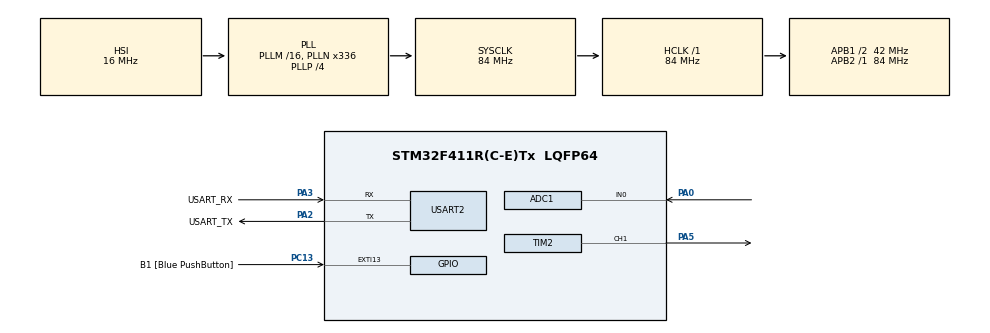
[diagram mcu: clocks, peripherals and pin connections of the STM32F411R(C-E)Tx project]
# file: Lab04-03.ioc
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ADC1.Channel-1\#ChannelRegularConversion=ADC_CHANNEL_0
ADC1.NbrOfConversionFlag=1
ADC1.Rank-1\#ChannelRegularConversion=1
ADC1.SamplingTime-1\#ChannelRegularConversion=ADC_SAMPLETIME_3CYCLES
ADC1.master=1
Mcu.Family=STM32F4
Mcu.Name=STM32F411R(C-E)Tx
Mcu.Package=LQFP64
NVIC.PriorityGroup=NVIC_PRIORITYGROUP_0
PA0-WKUP.Signal=ADCx_IN0
PA13.GPIO_Label=TMS
PA13.Mode=Serial_Wire
PA13.Signal=SYS_JTMS-SWDIO
PA14.GPIO_Label=TCK
PA14.Mode=Serial_Wire
PA14.Signal=SYS_JTCK-SWCLK
PA2.GPIO_Label=USART_TX
PA2.Mode=Asynchronous
PA2.Signal=USART2_TX
PA3.GPIO_Label=USART_RX
PA3.Mode=Asynchronous
PA3.Signal=USART2_RX
PA5.Signal=S_TIM2_CH1_ETR
PB3.GPIO_Label=SWO
PB3.Signal=SYS_JTDO-SWO
PC13-ANTI_TAMP.GPIO_Label=B1 [Blue PushButton]
PC13-ANTI_TAMP.GPIO_ModeDefaultEXTI=GPIO_MODE_IT_FALLING
PC13-ANTI_TAMP.Signal=GPXTI13
PC14-OSC32_IN.Mode=LSE-External-Oscillator
PC14-OSC32_IN.Signal=RCC_OSC32_IN
PC15-OSC32_OUT.Mode=LSE-External-Oscillator
PC15-OSC32_OUT.Signal=RCC_OSC32_OUT
PH0\ -\ OSC_IN.Mode=HSE-External-Clock-Source
PH0\ -\ OSC_IN.Signal=RCC_OSC_IN
PH1\ -\ OSC_OUT.Mode=HSE-External-Clock-Source
PH1\ -\ OSC_OUT.Signal=RCC_OSC_OUT
ProjectManager.HeapSize=0x200
ProjectManager.StackSize=0x400
ProjectManager.TargetToolchain=STM32CubeIDE
RCC.48MHZClocksFreq_Value=84000000
RCC.AHBFreq_Value=84000000
RCC.APB1CLKDivider=RCC_HCLK_DIV2
RCC.APB1Freq_Value=42000000
RCC.APB1TimFreq_Value=84000000
RCC.APB2Freq_Value=84000000
RCC.APB2TimFreq_Value=84000000
RCC.CortexFreq_Value=84000000
RCC.FLatency-AdvancedSettings=FLASH_LATENCY_2
RCC.HCLKFreq_Value=84000000
RCC.HSE_VALUE=8000000
RCC.HSI_VALUE=16000000
RCC.PLLN=336
RCC.PLLP=RCC_PLLP_DIV4
RCC.SYSCLKFreq_VALUE=84000000
RCC.SYSCLKSource=RCC_SYSCLKSOURCE_PLLCLK
RCC.VCOOutputFreq_Value=336000000
SH.ADCx_IN0.0=ADC1_IN0,IN0
SH.S_TIM2_CH1_ETR.0=TIM2_CH1,PWM Generation1 CH1
TIM2.Channel-PWM\ Generation1\ CH1=TIM_CHANNEL_1
TIM2.Period=99
TIM2.Prescaler=84
TIM2.Pulse-PWM\ Generation1\ CH1=0
USART2.VirtualMode=VM_ASYNC
VP_TIM2_VS_ClockSourceINT.Mode=Internal
board=NUCLEO-F411RE

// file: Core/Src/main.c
/* USER CODE BEGIN Header */
/**
  ******************************************************************************
  * @file           : main.c
  * @brief          : Main program body
  ******************************************************************************
  * @attention
  *
  * Copyright (c) 2024 STMicroelectronics.
  * All rights reserved.
  *
  * This software is licensed under terms that can be found in the LICENSE file
  * in the root directory of this software component.
  * If no LICENSE file comes with this software, it is provided AS-IS.
  *
  ******************************************************************************
  */
/* USER CODE END Header */
#include "main.h"

ADC_HandleTypeDef hadc1;

TIM_HandleTypeDef htim2;

UART_HandleTypeDef huart2;

/* USER CODE BEGIN PV */
uint32_t MIN_LDR = 50;
uint32_t MAX_LDR = 3600;

uint32_t normalize_ldr(uint32_t n) {
	return (uint32_t) (n - MIN_LDR) * 100 / (MAX_LDR - MIN_LDR);
}

/* USER CODE END PV */

void SystemClock_Config(void);
static void MX_GPIO_Init(void);
static void MX_USART2_UART_Init(void);
static void MX_ADC1_Init(void);
static void MX_TIM2_Init(void);

int main(void)
{

  /* MCU Configuration--------------------------------------------------------*/

  /* Reset of all peripherals, Initializes the Flash interface and the Systick. */
  HAL_Init();

  /* Configure the system clock */
  SystemClock_Config();

  /* Initialize all configured peripherals */
  MX_GPIO_Init();
  MX_USART2_UART_Init();
  MX_ADC1_Init();
  MX_TIM2_Init();
  /* USER CODE BEGIN 2 */
  HAL_TIM_Base_Start(&htim2);
  HAL_TIM_PWM_Start(&htim2, TIM_CHANNEL_1);
   int adcval = 0;
   char buf[256];
  /* USER CODE END 2 */

  /* Infinite loop */
  /* USER CODE BEGIN WHILE */
   while (1)
   {
   // Start ADC conversion
	   HAL_ADC_Start(&hadc1);
	   // Wait for 1000ms or when the conversion is finished.
	   if (HAL_ADC_PollForConversion(&hadc1, 1000) == HAL_OK) {
		   // Read the ADC value
		   adcval = HAL_ADC_GetValue(&hadc1);
		   uint32_t intensity = normalize_ldr(adcval);
		   TIM2->CCR1 = intensity;
		   // Write integer to buffer
		   sprintf (buf, "LDR: %d, LED: %d\r\n" , adcval, intensity);
		   // Transmitted with UART
		   HAL_UART_Transmit(&huart2, buf, strlen(buf), 1000);
		   HAL_Delay(200);
	   }
    /* USER CODE END WHILE */

  }
}

void SystemClock_Config(void)
{
  RCC_OscInitTypeDef RCC_OscInitStruct = {0};
  RCC_ClkInitTypeDef RCC_ClkInitStruct = {0};

  /** Configure the main internal regulator output voltage
  */
  __HAL_RCC_PWR_CLK_ENABLE();
  __HAL_PWR_VOLTAGESCALING_CONFIG(PWR_REGULATOR_VOLTAGE_SCALE1);

  /** Initializes the RCC Oscillators according to the specified parameters
  * in the RCC_OscInitTypeDef structure.
  */
  RCC_OscInitStruct.OscillatorType = RCC_OSCILLATORTYPE_HSI;
  RCC_OscInitStruct.HSIState = RCC_HSI_ON;
  RCC_OscInitStruct.HSICalibrationValue = RCC_HSICALIBRATION_DEFAULT;
  RCC_OscInitStruct.PLL.PLLState = RCC_PLL_ON;
  RCC_OscInitStruct.PLL.PLLSource = RCC_PLLSOURCE_HSI;
  RCC_OscInitStruct.PLL.PLLM = 16;
  RCC_OscInitStruct.PLL.PLLN = 336;
  RCC_OscInitStruct.PLL.PLLP = RCC_PLLP_DIV4;
  RCC_OscInitStruct.PLL.PLLQ = 4;
  if (HAL_RCC_OscConfig(&RCC_OscInitStruct) != HAL_OK)
  {
    Error_Handler();
  }

  /** Initializes the CPU, AHB and APB buses clocks
  */
  RCC_ClkInitStruct.ClockType = RCC_CLOCKTYPE_HCLK|RCC_CLOCKTYPE_SYSCLK
                              |RCC_CLOCKTYPE_PCLK1|RCC_CLOCKTYPE_PCLK2;
  RCC_ClkInitStruct.SYSCLKSource = RCC_SYSCLKSOURCE_PLLCLK;
  RCC_ClkInitStruct.AHBCLKDivider = RCC_SYSCLK_DIV1;
  RCC_ClkInitStruct.APB1CLKDivider = RCC_HCLK_DIV2;
  RCC_ClkInitStruct.APB2CLKDivider = RCC_HCLK_DIV1;

  if (HAL_RCC_ClockConfig(&RCC_ClkInitStruct, FLASH_LATENCY_2) != HAL_OK)
  {
    Error_Handler();
  }
}

static void MX_ADC1_Init(void)
{

  ADC_ChannelConfTypeDef sConfig = {0};

  /** Configure the global features of the ADC (Clock, Resolution, Data Alignment and number of conversion)
  */
  hadc1.Instance = ADC1;
  hadc1.Init.ClockPrescaler = ADC_CLOCK_SYNC_PCLK_DIV4;
  hadc1.Init.Resolution = ADC_RESOLUTION_12B;
  hadc1.Init.ScanConvMode = DISABLE;
  hadc1.Init.ContinuousConvMode = DISABLE;
  hadc1.Init.DiscontinuousConvMode = DISABLE;
  hadc1.Init.ExternalTrigConvEdge = ADC_EXTERNALTRIGCONVEDGE_NONE;
  hadc1.Init.ExternalTrigConv = ADC_SOFTWARE_START;
  hadc1.Init.DataAlign = ADC_DATAALIGN_RIGHT;
  hadc1.Init.NbrOfConversion = 1;
  hadc1.Init.DMAContinuousRequests = DISABLE;
  hadc1.Init.EOCSelection = ADC_EOC_SINGLE_CONV;
  if (HAL_ADC_Init(&hadc1) != HAL_OK)
  {
    Error_Handler();
  }

  /** Configure for the selected ADC regular channel its corresponding rank in the sequencer and its sample time.
  */
  sConfig.Channel = ADC_CHANNEL_0;
  sConfig.Rank = 1;
  sConfig.SamplingTime = ADC_SAMPLETIME_3CYCLES;
  if (HAL_ADC_ConfigChannel(&hadc1, &sConfig) != HAL_OK)
  {
    Error_Handler();
  }

}

static void MX_TIM2_Init(void)
{

  TIM_ClockConfigTypeDef sClockSourceConfig = {0};
  TIM_MasterConfigTypeDef sMasterConfig = {0};
  TIM_OC_InitTypeDef sConfigOC = {0};

  htim2.Instance = TIM2;
  htim2.Init.Prescaler = 84;
  htim2.Init.CounterMode = TIM_COUNTERMODE_UP;
  htim2.Init.Period = 99;
  htim2.Init.ClockDivision = TIM_CLOCKDIVISION_DIV1;
  htim2.Init.AutoReloadPreload = TIM_AUTORELOAD_PRELOAD_DISABLE;
  if (HAL_TIM_Base_Init(&htim2) != HAL_OK)
  {
    Error_Handler();
  }
  sClockSourceConfig.ClockSource = TIM_CLOCKSOURCE_INTERNAL;
  if (HAL_TIM_ConfigClockSource(&htim2, &sClockSourceConfig) != HAL_OK)
  {
    Error_Handler();
  }
  if (HAL_TIM_PWM_Init(&htim2) != HAL_OK)
  {
    Error_Handler();
  }
  sMasterConfig.MasterOutputTrigger = TIM_TRGO_RESET;
  sMasterConfig.MasterSlaveMode = TIM_MASTERSLAVEMODE_DISABLE;
  if (HAL_TIMEx_MasterConfigSynchronization(&htim2, &sMasterConfig) != HAL_OK)
  {
    Error_Handler();
  }
  sConfigOC.OCMode = TIM_OCMODE_PWM1;
  sConfigOC.Pulse = 0;
  sConfigOC.OCPolarity = TIM_OCPOLARITY_HIGH;
  sConfigOC.OCFastMode = TIM_OCFAST_DISABLE;
  if (HAL_TIM_PWM_ConfigChannel(&htim2, &sConfigOC, TIM_CHANNEL_1) != HAL_OK)
  {
    Error_Handler();
  }
  HAL_TIM_MspPostInit(&htim2);

}

static void MX_USART2_UART_Init(void)
{

  huart2.Instance = USART2;
  huart2.Init.BaudRate = 115200;
  huart2.Init.WordLength = UART_WORDLENGTH_8B;
  huart2.Init.StopBits = UART_STOPBITS_1;
  huart2.Init.Parity = UART_PARITY_NONE;
  huart2.Init.Mode = UART_MODE_TX_RX;
  huart2.Init.HwFlowCtl = UART_HWCONTROL_NONE;
  huart2.Init.OverSampling = UART_OVERSAMPLING_16;
  if (HAL_UART_Init(&huart2) != HAL_OK)
  {
    Error_Handler();
  }

}

static void MX_GPIO_Init(void)
{
  GPIO_InitTypeDef GPIO_InitStruct = {0};

  /* GPIO Ports Clock Enable */
  __HAL_RCC_GPIOC_CLK_ENABLE();
  __HAL_RCC_GPIOH_CLK_ENABLE();
  __HAL_RCC_GPIOA_CLK_ENABLE();
  __HAL_RCC_GPIOB_CLK_ENABLE();

  /*Configure GPIO pin : B1_Pin */
  GPIO_InitStruct.Pin = B1_Pin;
  GPIO_InitStruct.Mode = GPIO_MODE_IT_FALLING;
  GPIO_InitStruct.Pull = GPIO_NOPULL;
  HAL_GPIO_Init(B1_GPIO_Port, &GPIO_InitStruct);

}

void Error_Handler(void)
{
  __disable_irq();
  while (1)
  {
  }
}
